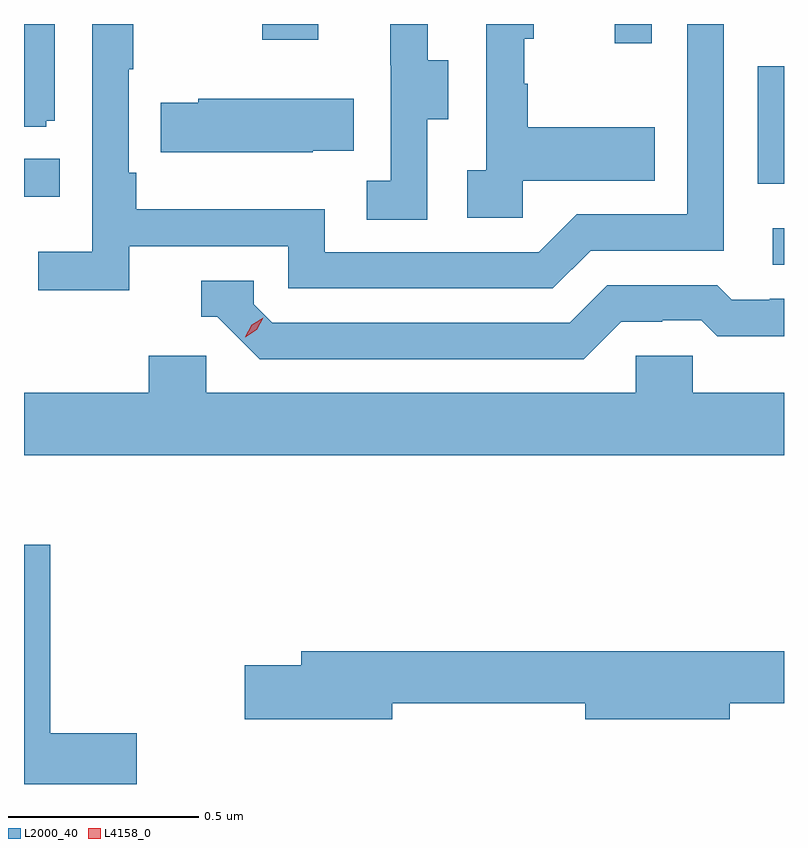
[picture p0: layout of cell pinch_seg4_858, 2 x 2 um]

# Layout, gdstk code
import gdstk
lib = gdstk.Library(unit=1e-6, precision=1e-09)
def R(c, l, rs):  # rectangles x0, y0, x1, y1
    for r in rs: c.add(gdstk.rectangle(r[:2], r[2:], *l))
def P(c, l, *ps):  # polygons
    for p in ps: c.add(gdstk.Polygon(p, *l))
L2000_40 = (2000, 40)
L4158_0 = (4158, 0)

pinch_seg4_858 = lib.new_cell('pinch_seg4_858')
R(pinch_seg4_858, L2000_40, [(888.669,797.322,888.699,797.418), (886.699,797.501,886.793,797.6), (888.63,797.535,888.699,797.844), (888.254,797.904,888.351,797.955), (887.326,797.913,887.473,797.955)])
P(pinch_seg4_858, L2000_40, [(887.76,797.704),(887.815,797.704),(887.815,797.859),(887.761,797.859),(887.761,797.955),(887.663,797.955),(887.663,797.847),(887.664,797.847),(887.664,797.543),(887.601,797.543),(887.601,797.44),(887.76,797.44)],
  [(886.758,797.7),(886.78,797.7),(886.78,797.955),(886.699,797.955),(886.699,797.685),(886.758,797.685)],
  [(886.976,797.37),(887.394,797.37),(887.394,797.259),(888.091,797.259),(888.19,797.358),(888.54,797.358),(888.54,797.955),(888.444,797.955),(888.444,797.454),(888.153,797.454),(888.054,797.355),(887.49,797.355),(887.49,797.467),(886.994,797.467),(886.994,797.563),(886.974,797.563),(886.974,797.836),(886.987,797.836),(886.987,797.955),(886.878,797.955),(886.878,797.356),(886.737,797.356),(886.737,797.254),(886.976,797.254)],
  [(888.012,797.543),(888.359,797.543),(888.359,797.683),(888.025,797.683),(888.025,797.798),(888.015,797.798),(888.015,797.916),(888.04,797.916),(888.04,797.955),(887.916,797.955),(887.916,797.57),(887.865,797.57),(887.865,797.445),(888.012,797.445)],
  [(887.459,797.621),(887.567,797.621),(887.567,797.758),(887.157,797.758),(887.157,797.748),(887.059,797.748),(887.059,797.618),(887.459,797.618)],
  [(888.271,797.172),(888.378,797.172),(888.378,797.175),(888.481,797.175),(888.523,797.133),(888.699,797.133),(888.699,797.232),(888.661,797.232),(888.661,797.229),(888.562,797.229),(888.523,797.268),(888.234,797.268),(888.135,797.169),(887.352,797.169),(887.304,797.217),(887.304,797.28),(887.165,797.28),(887.165,797.184),(887.208,797.184),(887.319,797.073),(888.172,797.073)],
  [(888.699,796.984),(888.459,796.984),(888.459,797.082),(888.309,797.082),(888.309,796.984),(887.178,796.984),(887.178,797.082),(887.027,797.082),(887.027,796.984),(886.699,796.984),(886.699,796.82),(888.699,796.82)],
  [(886.996,796.088),(886.768,796.088),(886.768,796.585),(886.699,796.585),(886.699,795.955),(886.996,795.955)],
  [(887.668,796.168),(888.176,796.168),(888.176,796.126),(888.556,796.126),(888.556,796.168),(888.699,796.168),(888.699,796.304),(887.429,796.304),(887.429,796.268),(887.28,796.268),(887.28,796.126),(887.668,796.126)])
P(pinch_seg4_858, L4158_0, [(887.281,797.131),(887.281,797.132),(887.298,797.164),(887.329,797.182),(887.329,797.182),(887.329,797.182),(887.312,797.15),(887.281,797.131)])

lib.write_gds('pinch_seg4_858.gds')
